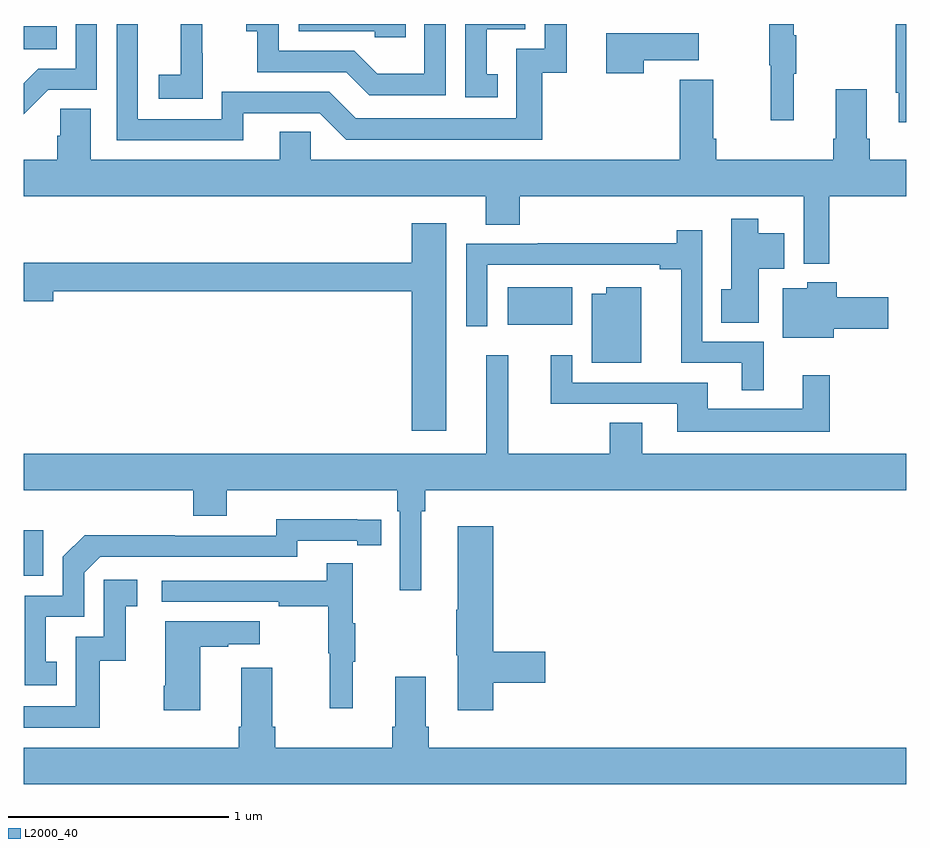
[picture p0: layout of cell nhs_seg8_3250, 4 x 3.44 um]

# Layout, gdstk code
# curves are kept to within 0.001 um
import gdstk
lib = gdstk.Library(unit=1e-6, precision=1e-09)
def R(c, l, rs):  # rectangles x0, y0, x1, y1
    for r in rs: c.add(gdstk.rectangle(r[:2], r[2:], *l))
def P(c, l, *ps):  # polygons
    for p in ps: c.add(gdstk.Polygon(p, *l))
L2000_40 = (2000, 40)

nhs_seg8_3250 = lib.new_cell('nhs_seg8_3250')
R(nhs_seg8_3250, L2000_40, [(311,1161.399,311.088,1161.607), (313.193,1162.538,313.486,1162.708), (311,1163.786,311.15,1163.89)])
P(nhs_seg8_3250, L2000_40, [(311.112,1163.601),(311.331,1163.601),(311.331,1163.9),(311.235,1163.9),(311.235,1163.697),(311.066,1163.697),(311,1163.631),(311,1163.49)],
  [(311.995,1163.496),(312.342,1163.496),(312.462,1163.376),(313.349,1163.376),(313.349,1163.679),(313.46,1163.679),(313.46,1163.9),(313.362,1163.9),(313.362,1163.787),(313.233,1163.787),(313.233,1163.472),(312.504,1163.472),(312.384,1163.592),(311.898,1163.592),(311.898,1163.469),(311.517,1163.469),(311.517,1163.9),(311.421,1163.9),(311.421,1163.373),(311.995,1163.373)],
  [(314.489,1163.675),(314.5,1163.675),(314.5,1163.849),(314.489,1163.849),(314.489,1163.9),(314.379,1163.9),(314.379,1163.712),(314.386,1163.712),(314.386,1163.463),(314.489,1163.463)],
  [(312.912,1163.9),(312.816,1163.9),(312.816,1163.674),(312.602,1163.674),(312.498,1163.778),(312.156,1163.778),(312.156,1163.9),(312.009,1163.9),(312.009,1163.867),(312.058,1163.867),(312.058,1163.682),(312.461,1163.682),(312.566,1163.577),(312.912,1163.577)],
  [(315,1163.9),(314.951,1163.9),(314.951,1163.589),(314.966,1163.589),(314.966,1163.454),(315,1163.454)],
  [(312.731,1163.9),(312.246,1163.9),(312.246,1163.868),(312.591,1163.868),(312.591,1163.841),(312.731,1163.841)],
  [(311.811,1163.767),(311.81,1163.767),(311.81,1163.9),(311.711,1163.9),(311.711,1163.671),(311.613,1163.671),(311.613,1163.561),(311.811,1163.561)],
  [(313.148,1163.673),(313.099,1163.673),(313.099,1163.877),(313.272,1163.877),(313.272,1163.9),(313.002,1163.9),(313.002,1163.568),(313.148,1163.568)],
  [(313.811,1163.735),(314.059,1163.735),(314.059,1163.857),(313.64,1163.857),(313.64,1163.676),(313.811,1163.676)],
  [(314.651,1163.12),(315,1163.12),(315,1163.284),(314.834,1163.284),(314.834,1163.38),(314.821,1163.38),(314.821,1163.605),(314.681,1163.605),(314.681,1163.38),(314.669,1163.38),(314.669,1163.284),(314.138,1163.284),(314.138,1163.38),(314.125,1163.38),(314.125,1163.647),(313.973,1163.647),(313.973,1163.284),(312.3,1163.284),(312.3,1163.411),(312.161,1163.411),(312.161,1163.284),(311.305,1163.284),(311.305,1163.516),(311.166,1163.516),(311.166,1163.393),(311.153,1163.393),(311.153,1163.284),(311,1163.284),(311,1163.12),(313.094,1163.12),(313.094,1162.99),(313.247,1162.99),(313.247,1163.12),(314.535,1163.12),(314.535,1162.814),(314.651,1162.814)],
  [(314.332,1162.79),(314.446,1162.79),(314.446,1162.951),(314.329,1162.951),(314.329,1163.017),(314.207,1163.017),(314.207,1162.698),(314.161,1162.698),(314.161,1162.546),(314.332,1162.546)],
  [(312.916,1162.996),(312.758,1162.996),(312.758,1162.819),(311,1162.819),(311,1162.643),(311.134,1162.643),(311.134,1162.69),(312.758,1162.69),(312.758,1162.056),(312.916,1162.056)],
  [(314.353,1162.461),(314.076,1162.461),(314.076,1162.966),(313.96,1162.966),(313.96,1162.907),(313.33,1162.907),(313.33,1162.905),(313.005,1162.905),(313.005,1162.53),(313.101,1162.53),(313.101,1162.809),(313.883,1162.809),(313.883,1162.789),(313.979,1162.789),(313.979,1162.365),(314.255,1162.365),(314.255,1162.241),(314.353,1162.241)],
  [(314.671,1162.52),(314.917,1162.52),(314.917,1162.662),(314.684,1162.662),(314.684,1162.729),(314.55,1162.729),(314.55,1162.702),(314.441,1162.702),(314.441,1162.478),(314.671,1162.478)],
  [(313.798,1162.708),(313.64,1162.708),(313.64,1162.678),(313.574,1162.678),(313.574,1162.364),(313.798,1162.364)],
  [(312.802,1161.692),(312.821,1161.692),(312.821,1161.788),(315,1161.788),(315,1161.952),(313.804,1161.952),(313.804,1162.094),(313.657,1162.094),(313.657,1161.952),(313.196,1161.952),(313.196,1162.399),(313.097,1162.399),(313.097,1161.952),(311,1161.952),(311,1161.788),(311.768,1161.788),(311.768,1161.671),(311.92,1161.671),(311.92,1161.788),(312.692,1161.788),(312.692,1161.692),(312.705,1161.692),(312.705,1161.333),(312.802,1161.333)],
  [(314.653,1162.309),(314.531,1162.309),(314.531,1162.156),(314.101,1162.156),(314.101,1162.275),(313.485,1162.275),(313.485,1162.399),(313.388,1162.399),(313.388,1162.179),(313.961,1162.179),(313.961,1162.052),(314.653,1162.052)],
  [(311.15,1161.009),(311.101,1161.009),(311.101,1161.213),(311.274,1161.213),(311.274,1161.414),(311.346,1161.486),(312.24,1161.486),(312.24,1161.558),(312.512,1161.558),(312.512,1161.538),(312.62,1161.538),(312.62,1161.654),(312.144,1161.655),(312.144,1161.582),(311.684,1161.582),(311.684,1161.584),(311.276,1161.584),(311.178,1161.486),(311.178,1161.309),(311.004,1161.309),(311.004,1160.904),(311.15,1160.904)],
  [(313.127,1160.914),(313.363,1160.914),(313.363,1161.056),(313.127,1161.056),(313.127,1161.625),(312.968,1161.625),(312.968,1161.245),(312.961,1161.245),(312.961,1161.039),(312.968,1161.039),(312.968,1160.79),(313.127,1160.79)],
  [(312.491,1161.011),(312.502,1161.011),(312.502,1161.185),(312.491,1161.185),(312.491,1161.457),(312.373,1161.457),(312.373,1161.378),(311.625,1161.378),(311.625,1161.282),(312.157,1161.282),(312.157,1161.262),(312.381,1161.262),(312.381,1161.048),(312.388,1161.048),(312.388,1160.799),(312.491,1160.799)],
  [(311.344,1161.015),(311.462,1161.015),(311.462,1161.261),(311.515,1161.261),(311.515,1161.382),(311.364,1161.382),(311.364,1161.123),(311.235,1161.123),(311.235,1160.808),(311,1160.808),(311,1160.712),(311.344,1160.712)],
  [(311.8,1161.079),(311.927,1161.079),(311.927,1161.089),(312.07,1161.089),(312.07,1161.193),(311.642,1161.193),(311.642,1160.902),(311.635,1160.902),(311.635,1160.79),(311.8,1160.79)],
  [(315,1160.62),(312.836,1160.62),(312.836,1160.716),(312.823,1160.716),(312.823,1160.941),(312.683,1160.941),(312.683,1160.716),(312.671,1160.716),(312.671,1160.62),(312.14,1160.62),(312.14,1160.716),(312.127,1160.716),(312.127,1160.983),(311.987,1160.983),(311.987,1160.716),(311.975,1160.716),(311.975,1160.62),(311,1160.62),(311,1160.456),(315,1160.456)])

lib.write_gds('nhs_seg8_3250.gds')
